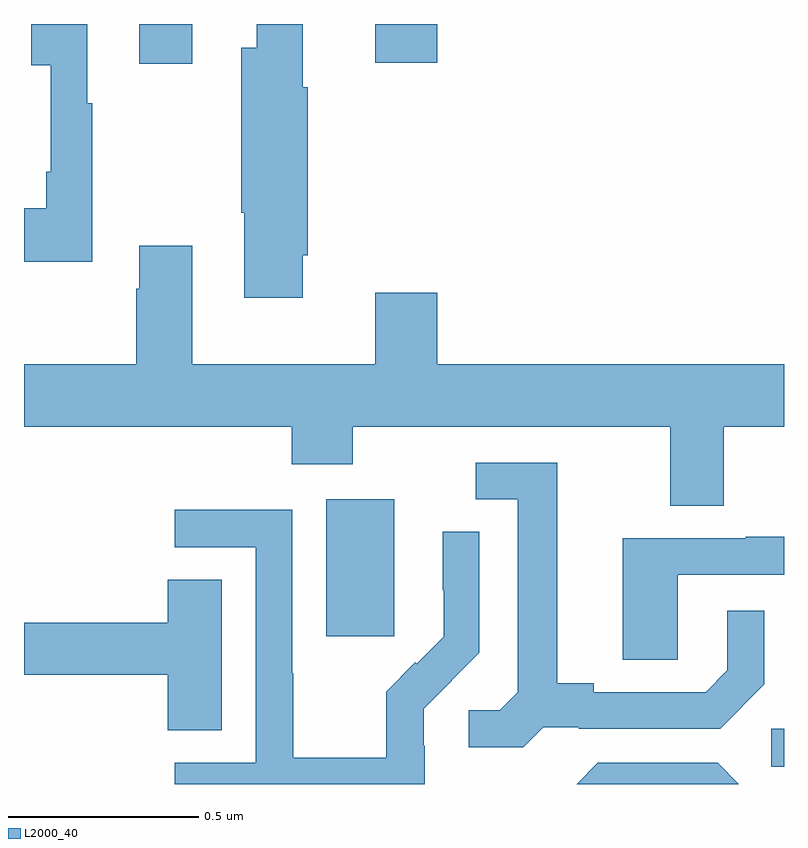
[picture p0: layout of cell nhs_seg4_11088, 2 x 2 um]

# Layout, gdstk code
import gdstk
lib = gdstk.Library(unit=1e-6, precision=1e-09)
def R(c, l, rs):  # rectangles x0, y0, x1, y1
    for r in rs: c.add(gdstk.rectangle(r[:2], r[2:], *l))
def P(c, l, *ps):  # polygons
    for p in ps: c.add(gdstk.Polygon(p, *l))
L2000_40 = (2000, 40)

nhs_seg4_11088 = lib.new_cell('nhs_seg4_11088')
R(nhs_seg4_11088, L2000_40, [(249.966,775.945,250,776.046), (248.795,776.289,248.974,776.65), (248.303,777.795,248.443,777.9), (248.924,777.798,249.088,777.9)])
P(nhs_seg4_11088, L2000_40, [(248.734,777.292),(248.747,777.292),(248.747,777.734),(248.734,777.734),(248.734,777.9),(248.612,777.9),(248.612,777.838),(248.572,777.838),(248.572,777.403),(248.579,777.403),(248.579,777.18),(248.734,777.18)],
  [(248.179,777.691),(248.167,777.691),(248.167,777.9),(248.019,777.9),(248.019,777.791),(248.07,777.791),(248.07,777.511),(248.058,777.511),(248.058,777.415),(248,777.415),(248,777.275),(248.179,777.275)],
  [(249.841,776.84),(250,776.84),(250,777.004),(249.088,777.004),(249.088,777.193),(248.924,777.193),(248.924,777.004),(248.443,777.004),(248.443,777.316),(248.303,777.316),(248.303,777.203),(248.296,777.203),(248.296,777.004),(248,777.004),(248,776.84),(248.705,776.84),(248.705,776.741),(248.865,776.741),(248.865,776.84),(249.701,776.84),(249.701,776.632),(249.841,776.632)],
  [(249.366,776.049),(249.46,776.049),(249.46,776.046),(249.832,776.046),(249.948,776.162),(249.948,776.356),(249.851,776.356),(249.851,776.199),(249.794,776.142),(249.499,776.142),(249.499,776.165),(249.403,776.165),(249.403,776.745),(249.189,776.745),(249.189,776.649),(249.299,776.649),(249.299,776.141),(249.252,776.094),(249.171,776.094),(249.171,775.997),(249.314,775.997)],
  [(249.054,776.001),(249.052,776.001),(249.052,776.098),(249.126,776.172),(249.125,776.173),(249.198,776.246),(249.198,776.564),(249.102,776.564),(249.102,776.41),(249.104,776.41),(249.104,776.288),(249.033,776.217),(249.03,776.22),(248.953,776.143),(248.953,775.969),(248.709,775.969),(248.709,776.192),(248.706,776.192),(248.706,776.622),(248.397,776.622),(248.397,776.523),(248.61,776.523),(248.61,775.956),(248.397,775.956),(248.397,775.9),(249.054,775.9)],
  [(249.72,776.451),(250,776.451),(250,776.551),(249.899,776.551),(249.899,776.547),(249.575,776.547),(249.575,776.227),(249.72,776.227)],
  [(248.521,776.438),(248.378,776.438),(248.378,776.324),(248,776.324),(248,776.188),(248.378,776.188),(248.378,776.041),(248.521,776.041)],
  [(249.825,775.956),(249.51,775.956),(249.454,775.9),(249.881,775.9)])

lib.write_gds('nhs_seg4_11088.gds')
